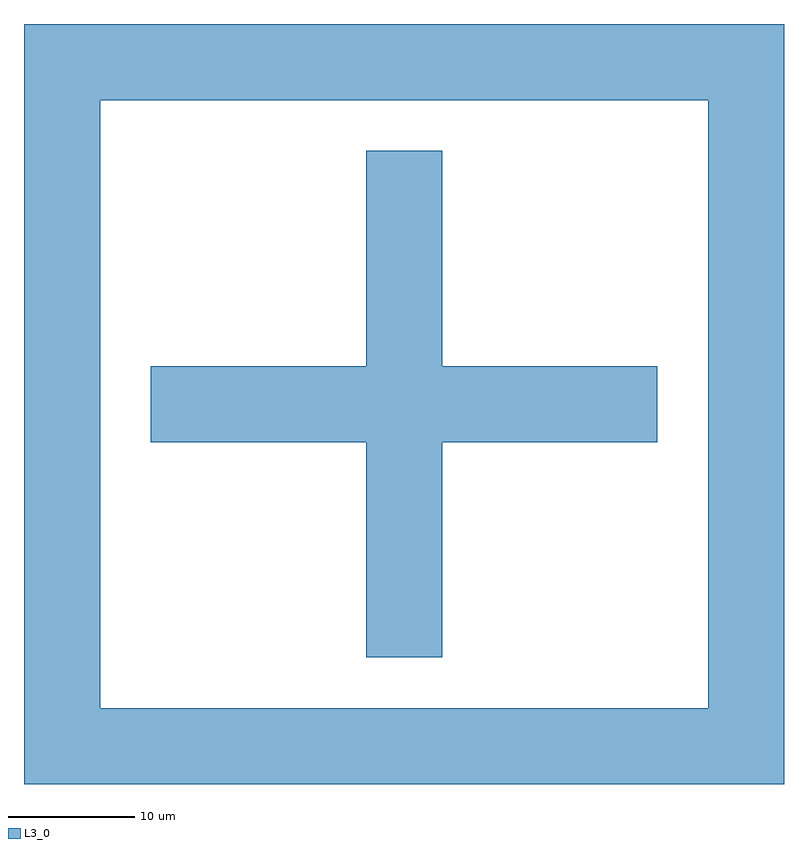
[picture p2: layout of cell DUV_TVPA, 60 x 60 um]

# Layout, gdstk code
import gdstk
lib = gdstk.Library(unit=1e-6, precision=1e-09)
def R(c, l, rs):  # rectangles x0, y0, x1, y1
    for r in rs: c.add(gdstk.rectangle(r[:2], r[2:], *l))
L3_0 = (3, 0)

duv_tvpa = lib.new_cell('DUV_TVPA')
R(duv_tvpa, L3_0, [(-30,-30,-24,30), (-30,-30,30,-24), (24,-30,30,30), (-3,-20,3,20), (-20,-3,20,3), (-30,24,30,30)])

lib.write_gds('DUV_TVPA.gds')
